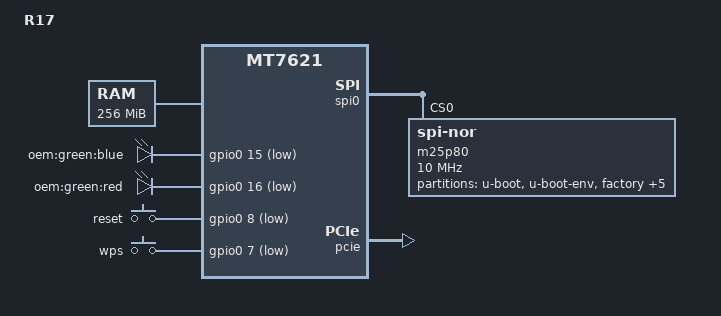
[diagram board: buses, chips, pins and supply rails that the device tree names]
/dts-v1/;

#include "mt7621.dtsi"

#include <dt-bindings/input/input.h>
#include <dt-bindings/gpio/gpio.h>

/ {
	compatible = "OEM,MT7621", "mediatek,mt7621-soc";
	model = "R17";

	memory@0 {
		device_type = "memory";
		reg = <0x0 0x10000000>;
	};

	chosen {
		bootargs = "console=ttyS0,115200";
	};

	gpio-leds {
		compatible = "gpio-leds";
		blue {
			label = "oem:green:blue";
			gpios = <&gpio0 15 GPIO_ACTIVE_LOW>;
		};

		red {
			label = "oem:green:red";
			gpios = <&gpio0 16 GPIO_ACTIVE_LOW>;
		};
	};

	gpio-keys-polled {
		compatible = "gpio-keys-polled";
		#address-cells = <1>;
		#size-cells = <0>;
		poll-interval = <20>;

		reset {
			label = "reset";
			gpios = <&gpio0 8 GPIO_ACTIVE_LOW>;
			linux,code = <KEY_RESTART>;
		};

		wps {
			label = "wps";
			gpios = <&gpio0 7 GPIO_ACTIVE_LOW>;
			linux,code = <KEY_WPS_BUTTON>;
		};
	};
};

&ethernet {
	mtd-mac-address = <&bdinfo 0xDE00>;
	mediatek,port-map = "llllw";
};

&spi0 {
	status = "okay";

	m25p80@0 {
		#address-cells = <1>;
		#size-cells = <1>;
		compatible = "jedec,spi-nor";
		reg = <0>;
		spi-max-frequency = <10000000>;
		m25p,chunked-io = <32>;

		partition@0 {
			label = "u-boot";
			reg = <0x0 0x30000>;
		};

		partition@30000 {
			label = "u-boot-env";
			reg = <0x30000 0x10000>;
		};

		factory: partition@40000 {
			label = "factory";
			reg = <0x40000 0x10000>;
		};

		app: partition@1000000 {
			label = "app";
			reg = <0x1000000 0xfd0000>;
		};

		debug: partition@1fd0000 {
			label = "debug";
			reg = <0x1fd0000 0x10000>;
		};

		backup: partition@1fe0000 {
			label = "backup";
			reg = <0x1fe0000 0x10000>;
		};

		bdinfo: partition@1ff0000 {
			label = "bdinfo";
			reg = <0x1ff0000 0x10000>;
		};

		partition@50000 {
			label = "firmware";
			reg = <0x50000 0xfb0000>;
		};
	};
};

&pcie {
	status = "okay";

	pcie0 {
		mt76@0,0 {
			reg = <0x0000 0 0 0 0>;
			device_type = "pci";
			mediatek,mtd-eeprom = <&factory 0x0000>;
			ieee80211-freq-limit = <2400000 2500000>;
		};
	};

	pcie1 {
		mt76@1,0 {
			reg = <0x0000 0 0 0 0>;
			device_type = "pci";
			mediatek,mtd-eeprom = <&factory 0x8000>;
			ieee80211-freq-limit = <5000000 6000000>;
		};
	};
};

&pinctrl {
	state_default: pinctrl0 {
		gpio {
			ralink,group = "wdt", "jtag";
			ralink,function = "gpio";
		};
	};
};
